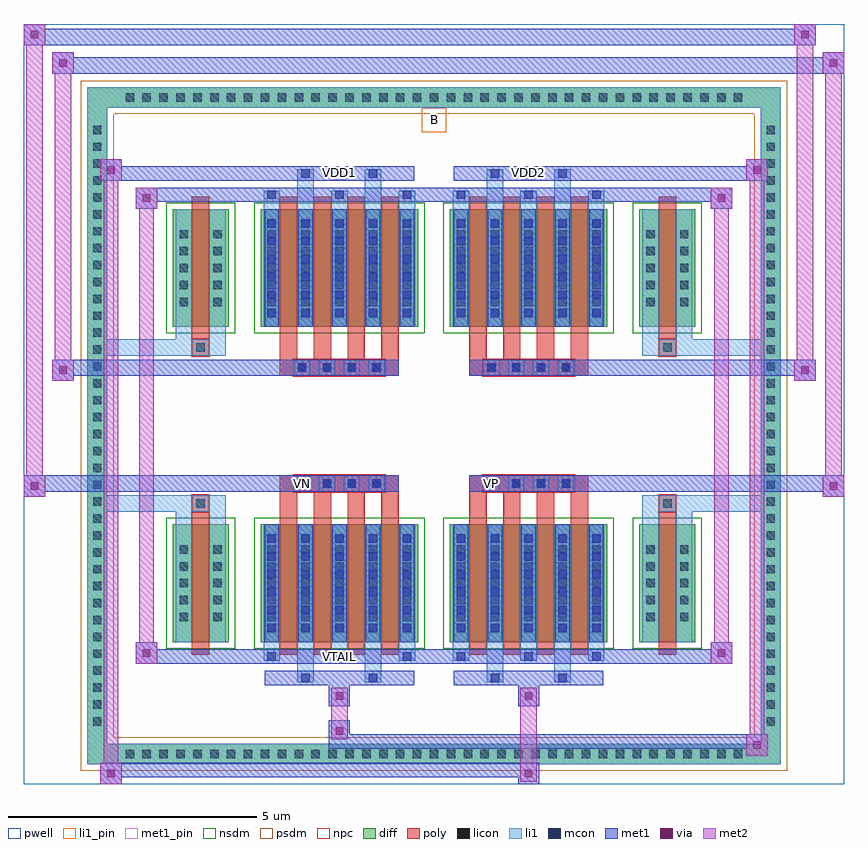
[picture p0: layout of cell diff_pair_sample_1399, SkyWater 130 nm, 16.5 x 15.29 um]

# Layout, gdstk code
import gdstk
lib = gdstk.Library(unit=1e-6, precision=5e-09)
def R(c, l, rs):  # rectangles x0, y0, x1, y1
    for r in rs: c.add(gdstk.rectangle(r[:2], r[2:], *l))
def A(c, l, x, y, w, h, nx, ny, dx, dy):  # array of equal rectangles
    R(c, l, [(x+i*dx, y+j*dy, x+i*dx+w, y+j*dy+h) for i in range(nx) for j in range(ny)])
def P(c, l, *ps):  # polygons
    for p in ps: c.add(gdstk.Polygon(p, *l))
pwell = (64, 44)
diff = (65, 20)
poly = (66, 20)
licon = (66, 44)
li1_pin = (67, 16)
li1 = (67, 20)
mcon = (67, 44)
met1_pin = (68, 16)
met1 = (68, 20)
via = (68, 44)
met2 = (69, 20)
nsdm = (93, 44)
psdm = (94, 20)
npc = (95, 20)

diff_pair_sample_1399 = lib.new_cell('diff_pair_sample_1399')
R(diff_pair_sample_1399, pwell, [(-8.25,-7.21,8.25,8.08), (-5.57,-5.4,-0.01,-0.8), (0.01,-5.4,5.57,-0.8), (-5.57,0.8,-0.01,5.4), (0.01,0.8,5.57,5.4)])
A(diff_pair_sample_1399, diff, -6.325, -6.81, 0.41, 0.41, 37, 2, 0.34, 13.21)
A(diff_pair_sample_1399, diff, -6.98, -6.155, 0.41, 0.41, 1, 36, 0, 0.34)
A(diff_pair_sample_1399, diff, 6.57, -6.155, 0.41, 0.41, 1, 36, 0, 0.34)
R(diff_pair_sample_1399, diff, [(-6.325,-6.81,6.325,-6.4), (-6.98,-6.155,-6.57,6.155), (6.57,-6.155,6.98,6.155), (-5.26,-4.355,-4.13,-1.985), (-3.49,-4.355,-0.32,-1.985), (0.32,-4.355,3.49,-1.985), (4.13,-4.355,5.26,-1.985), (-5.26,1.985,-4.13,4.355), (-3.49,1.985,-0.32,4.355), (0.32,1.985,3.49,4.355), (4.13,1.985,5.26,4.355), (-6.325,6.4,6.325,6.81)])
P(diff_pair_sample_1399, diff, [(6.98,6.81),(-6.98,6.81),(-6.98,-6.4),(-6.57,-6.4),(-6.57,6.4),(6.57,6.4),(6.57,-6.4),(-6.57,-6.4),(-6.98,-6.4),(-6.98,-6.81),(6.98,-6.81)])
A(diff_pair_sample_1399, poly, -3.1, -4.605, 0.35, 2.87, 4, 2, 0.68, 6.34)
A(diff_pair_sample_1399, poly, 0.71, -4.605, 0.35, 2.87, 4, 2, 0.68, 6.34)
A(diff_pair_sample_1399, poly, -3.1, -1.735, 0.35, 0.405, 4, 2, 0.68, 3.065)
A(diff_pair_sample_1399, poly, 0.71, -1.735, 0.35, 0.405, 4, 2, 0.68, 3.065)
A(diff_pair_sample_1399, poly, -2.82, -1.33, 0.33, 0.33, 4, 2, 0.5, 2.33)
A(diff_pair_sample_1399, poly, 0.99, -1.33, 0.33, 0.33, 4, 2, 0.5, 2.33)
R(diff_pair_sample_1399, poly, [(-4.87,-4.605,-4.52,-1.735), (4.52,-4.605,4.87,-1.735), (-4.86,-1.735,-4.53,-1.405), (-4.86,-1.735,-4.53,-1.405), (4.53,-1.735,4.86,-1.405), (4.53,-1.735,4.86,-1.405), (-3.1,-1.33,-0.71,-1), (0.71,-1.33,3.1,-1), (-3.1,1,-0.71,1.33), (0.71,1,3.1,1.33), (-4.86,1.405,-4.53,1.735), (-4.86,1.405,-4.53,1.735), (4.53,1.405,4.86,1.735), (4.53,1.405,4.86,1.735), (-4.87,1.735,-4.52,4.605), (4.52,1.735,4.87,4.605)])
A(diff_pair_sample_1399, licon, -6.205, -6.69, 0.17, 0.17, 37, 2, 0.34, 13.21)
A(diff_pair_sample_1399, licon, -6.86, -6.035, 0.17, 0.17, 1, 36, 0, 0.34)
A(diff_pair_sample_1399, licon, 6.69, -6.035, 0.17, 0.17, 1, 36, 0, 0.34)
A(diff_pair_sample_1399, licon, -5.12, -3.935, 0.17, 0.17, 1, 5, 0, 0.34)
A(diff_pair_sample_1399, licon, -4.44, -3.935, 0.17, 0.17, 1, 5, 0, 0.34)
A(diff_pair_sample_1399, licon, -3.35, -3.935, 0.17, 0.17, 5, 5, 0.68, 0.34)
A(diff_pair_sample_1399, licon, 0.46, -3.935, 0.17, 0.17, 5, 5, 0.68, 0.34)
A(diff_pair_sample_1399, licon, 4.27, -3.935, 0.17, 0.17, 1, 5, 0, 0.34)
A(diff_pair_sample_1399, licon, 4.95, -3.935, 0.17, 0.17, 1, 5, 0, 0.34)
A(diff_pair_sample_1399, licon, -2.74, -1.25, 0.17, 0.17, 4, 2, 0.5, 2.33)
A(diff_pair_sample_1399, licon, 1.07, -1.25, 0.17, 0.17, 4, 2, 0.5, 2.33)
A(diff_pair_sample_1399, licon, -5.12, 2.405, 0.17, 0.17, 1, 5, 0, 0.34)
A(diff_pair_sample_1399, licon, -4.44, 2.405, 0.17, 0.17, 1, 5, 0, 0.34)
A(diff_pair_sample_1399, licon, -3.35, 2.405, 0.17, 0.17, 5, 5, 0.68, 0.34)
A(diff_pair_sample_1399, licon, 0.46, 2.405, 0.17, 0.17, 5, 5, 0.68, 0.34)
A(diff_pair_sample_1399, licon, 4.27, 2.405, 0.17, 0.17, 1, 5, 0, 0.34)
A(diff_pair_sample_1399, licon, 4.95, 2.405, 0.17, 0.17, 1, 5, 0, 0.34)
R(diff_pair_sample_1399, licon, [(-4.78,-1.655,-4.61,-1.485), (4.61,-1.655,4.78,-1.485), (-4.78,1.485,-4.61,1.655), (4.61,1.485,4.78,1.655)])
R(diff_pair_sample_1399, li1_pin, [(-0.25,5.9,0.25,6.4)])
A(diff_pair_sample_1399, li1, -6.285, -6.77, 0.33, 0.33, 37, 2, 0.34, 13.21)
A(diff_pair_sample_1399, li1, -6.94, -6.115, 0.33, 0.33, 1, 36, 0, 0.34)
A(diff_pair_sample_1399, li1, 6.61, -6.115, 0.33, 0.33, 1, 36, 0, 0.34)
A(diff_pair_sample_1399, li1, -3.43, -4.73, 0.33, 0.375, 3, 2, 1.36, 9.085)
A(diff_pair_sample_1399, li1, -3.35, -4.73, 0.17, 0.17, 3, 2, 1.36, 9.29)
A(diff_pair_sample_1399, li1, 0.38, -4.73, 0.33, 0.375, 3, 2, 1.36, 9.085)
A(diff_pair_sample_1399, li1, 0.46, -4.73, 0.17, 0.17, 3, 2, 1.36, 9.29)
A(diff_pair_sample_1399, li1, -3.43, -4.355, 0.33, 2.37, 5, 2, 0.68, 6.34)
A(diff_pair_sample_1399, li1, 0.38, -4.355, 0.33, 2.37, 5, 2, 0.68, 6.34)
A(diff_pair_sample_1399, li1, -3.35, -4.155, 0.17, 0.17, 5, 6, 0.68, 0.36)
A(diff_pair_sample_1399, li1, -3.35, -4.155, 0.17, 1.97, 5, 2, 0.68, 6.34)
A(diff_pair_sample_1399, li1, 0.46, -4.155, 0.17, 0.17, 5, 6, 0.68, 0.36)
A(diff_pair_sample_1399, li1, 0.46, -4.155, 0.17, 1.97, 5, 2, 0.68, 6.34)
A(diff_pair_sample_1399, li1, -5.2, -4.015, 0.33, 0.33, 1, 5, 0, 0.34)
A(diff_pair_sample_1399, li1, -4.52, -4.015, 0.33, 0.33, 1, 5, 0, 0.34)
A(diff_pair_sample_1399, li1, -3.43, -4.015, 0.33, 0.33, 5, 5, 0.68, 0.34)
A(diff_pair_sample_1399, li1, 0.38, -4.015, 0.33, 0.33, 5, 5, 0.68, 0.34)
A(diff_pair_sample_1399, li1, 4.19, -4.015, 0.33, 0.33, 1, 5, 0, 0.34)
A(diff_pair_sample_1399, li1, 4.87, -4.015, 0.33, 0.33, 1, 5, 0, 0.34)
A(diff_pair_sample_1399, li1, -2.82, -1.33, 0.33, 0.33, 4, 2, 0.5, 2.33)
A(diff_pair_sample_1399, li1, 0.99, -1.33, 0.33, 0.33, 4, 2, 0.5, 2.33)
A(diff_pair_sample_1399, li1, -3.35, 2.185, 0.17, 0.17, 5, 6, 0.68, 0.36)
A(diff_pair_sample_1399, li1, 0.46, 2.185, 0.17, 0.17, 5, 6, 0.68, 0.36)
A(diff_pair_sample_1399, li1, -5.2, 2.325, 0.33, 0.33, 1, 5, 0, 0.34)
A(diff_pair_sample_1399, li1, -4.52, 2.325, 0.33, 0.33, 1, 5, 0, 0.34)
A(diff_pair_sample_1399, li1, -3.43, 2.325, 0.33, 0.33, 5, 5, 0.68, 0.34)
A(diff_pair_sample_1399, li1, 0.38, 2.325, 0.33, 0.33, 5, 5, 0.68, 0.34)
A(diff_pair_sample_1399, li1, 4.19, 2.325, 0.33, 0.33, 1, 5, 0, 0.34)
A(diff_pair_sample_1399, li1, 4.87, 2.325, 0.33, 0.33, 1, 5, 0, 0.34)
R(diff_pair_sample_1399, li1, [(-6.98,-6.81,-6.57,-6.4), (-6.98,-6.81,-6.57,-6.4), (-6.57,-6.81,6.57,-6.4), (6.57,-6.81,6.98,-6.4), (6.57,-6.81,6.98,-6.4), (-6.98,-6.4,-6.57,6.4), (6.57,-6.4,6.98,6.4), (-2.75,-5.16,-2.42,-4.355), (-2.67,-5.16,-2.5,-4.99), (-1.39,-5.16,-1.06,-4.355), (-1.31,-5.16,-1.14,-4.99), (1.06,-5.16,1.39,-4.355), (1.14,-5.16,1.31,-4.99), (2.42,-5.16,2.75,-4.355), (2.5,-5.16,2.67,-4.99), (-5.2,-4.355,-4.87,-1.985), (-4.52,-4.355,-4.19,-1.985), (4.19,-4.355,4.52,-1.985), (4.87,-4.355,5.2,-1.985), (-5.2,-1.985,-4.87,-1.405), (-4.52,-1.985,-4.19,-1.405), (4.19,-1.985,4.52,-1.405), (4.87,-1.985,5.2,-1.405), (-6.98,-1.735,-4.86,-1.405), (-5.2,-1.735,-4.86,-1.405), (-4.86,-1.735,-4.53,-1.405), (-4.53,-1.735,-4.19,-1.405), (4.19,-1.735,4.53,-1.405), (4.53,-1.735,4.86,-1.405), (4.53,-1.735,6.98,-1.405), (4.86,-1.735,5.2,-1.405), (-6.98,1.405,-4.86,1.735), (-5.2,1.405,-4.86,1.735), (-5.2,1.405,-4.87,1.985), (-4.86,1.405,-4.53,1.735), (-4.53,1.405,-4.19,1.735), (-4.52,1.405,-4.19,1.985), (4.19,1.405,4.53,1.735), (4.19,1.405,4.52,1.985), (4.53,1.405,4.86,1.735), (4.53,1.405,6.98,1.735), (4.86,1.405,5.2,1.735), (4.87,1.405,5.2,1.985), (-5.2,1.985,-4.87,4.355), (-4.52,1.985,-4.19,4.355), (4.19,1.985,4.52,4.355), (4.87,1.985,5.2,4.355), (-2.75,4.355,-2.42,5.16), (-1.39,4.355,-1.06,5.16), (1.06,4.355,1.39,5.16), (2.42,4.355,2.75,5.16), (-2.67,4.99,-2.5,5.16), (-1.31,4.99,-1.14,5.16), (1.14,4.99,1.31,5.16), (2.5,4.99,2.67,5.16), (-6.98,6.4,-6.57,6.81), (-6.98,6.4,-6.57,6.81), (-6.57,6.4,6.57,6.81), (6.57,6.4,6.98,6.81), (6.57,6.4,6.98,6.81)])
A(diff_pair_sample_1399, mcon, -3.35, -4.73, 0.17, 0.17, 3, 2, 1.36, 9.29)
A(diff_pair_sample_1399, mcon, 0.46, -4.73, 0.17, 0.17, 3, 2, 1.36, 9.29)
A(diff_pair_sample_1399, mcon, -3.35, -4.155, 0.17, 0.17, 5, 6, 0.68, 0.36)
A(diff_pair_sample_1399, mcon, 0.46, -4.155, 0.17, 0.17, 5, 6, 0.68, 0.36)
A(diff_pair_sample_1399, mcon, -2.74, -1.25, 0.17, 0.17, 4, 2, 0.5, 2.33)
A(diff_pair_sample_1399, mcon, 1.07, -1.25, 0.17, 0.17, 4, 2, 0.5, 2.33)
A(diff_pair_sample_1399, mcon, -3.35, 2.185, 0.17, 0.17, 5, 6, 0.68, 0.36)
A(diff_pair_sample_1399, mcon, 0.46, 2.185, 0.17, 0.17, 5, 6, 0.68, 0.36)
R(diff_pair_sample_1399, mcon, [(-2.67,-5.16,-2.5,-4.99), (-1.31,-5.16,-1.14,-4.99), (1.14,-5.16,1.31,-4.99), (2.5,-5.16,2.67,-4.99), (-2.67,4.99,-2.5,5.16), (-1.31,4.99,-1.14,5.16), (1.14,4.99,1.31,5.16), (2.5,4.99,2.67,5.16)])
R(diff_pair_sample_1399, met1_pin, [(-2.04,-4.77,-1.77,-4.5), (-2.79,-1.29,-2.52,-1.02), (1.02,-1.29,1.29,-1.02), (-2.04,4.95,-1.77,5.22), (1.77,4.95,2.04,5.22)])
A(diff_pair_sample_1399, met1, -3.41, -4.79, 0.29, 0.29, 3, 2, 1.36, 9.29)
A(diff_pair_sample_1399, met1, 0.4, -4.79, 0.29, 0.29, 3, 2, 1.36, 9.29)
A(diff_pair_sample_1399, met1, -3.41, -4.355, 0.29, 2.37, 5, 2, 0.68, 6.34)
A(diff_pair_sample_1399, met1, 0.4, -4.355, 0.29, 2.37, 5, 2, 0.68, 6.34)
A(diff_pair_sample_1399, met1, -3.41, -4.215, 0.29, 0.29, 5, 6, 0.68, 0.36)
A(diff_pair_sample_1399, met1, 0.4, -4.215, 0.29, 0.29, 5, 6, 0.68, 0.36)
A(diff_pair_sample_1399, met1, -2.8, -1.31, 0.29, 0.29, 4, 2, 0.5, 2.33)
A(diff_pair_sample_1399, met1, 1.01, -1.31, 0.29, 0.29, 4, 2, 0.5, 2.33)
A(diff_pair_sample_1399, met1, -3.41, 2.125, 0.29, 0.29, 5, 6, 0.68, 0.36)
A(diff_pair_sample_1399, met1, 0.4, 2.125, 0.29, 0.29, 5, 6, 0.68, 0.36)
R(diff_pair_sample_1399, met1, [(-6.71,-7.21,-6.28,-6.78), (1.69,-7.21,2.12,-6.78), (-6.71,-7.07,2.12,-6.78), (6.28,-6.64,6.71,-6.21), (-2.12,-6.5,6.71,-6.21), (-2.12,-6.36,-1.69,-5.93), (-2.12,-5.65,-1.69,-5.22), (1.69,-5.65,2.12,-5.22), (-3.41,-5.22,-0.4,-4.93), (-2.73,-5.22,-2.44,-4.93), (-1.37,-5.22,-1.08,-4.93), (0.4,-5.22,3.41,-4.93), (1.08,-5.22,1.37,-4.93), (2.44,-5.22,2.73,-4.93), (-6,-4.79,-5.57,-4.36), (-6,-4.79,-3.41,-4.5), (-3.41,-4.79,-0.4,-4.5), (-0.4,-4.79,0.4,-4.5), (0.4,-4.79,3.41,-4.5), (3.41,-4.79,6,-4.5), (5.57,-4.79,6,-4.36), (-8.25,-1.43,-7.82,-1), (7.82,-1.43,8.25,-1), (-8.25,-1.33,-0.71,-1), (-3.1,-1.33,-0.71,-1), (0.71,-1.33,3.1,-1), (0.71,-1.33,8.25,-1), (-7.68,0.9,-7.25,1.33), (7.25,0.9,7.68,1.33), (-7.68,1,-3.1,1.33), (-3.1,1,-0.71,1.33), (0.71,1,3.1,1.33), (3.1,1,7.68,1.33), (-6,4.36,-5.57,4.79), (5.57,4.36,6,4.79), (-6,4.5,-3.41,4.79), (-3.41,4.5,-0.4,4.79), (-0.4,4.5,0.4,4.79), (0.4,4.5,3.41,4.79), (3.41,4.5,6,4.79), (-6.71,4.93,-6.28,5.36), (-6.71,4.93,-3.41,5.22), (-3.41,4.93,-0.4,5.22), (-2.73,4.93,-2.44,5.22), (-1.37,4.93,-1.08,5.22), (0.4,4.93,3.41,5.22), (1.08,4.93,1.37,5.22), (2.44,4.93,2.73,5.22), (3.41,4.93,6.71,5.22), (6.28,4.93,6.71,5.36), (-7.68,7.08,-7.25,7.51), (-7.68,7.08,-5.57,7.41), (-5.57,7.08,5.57,7.41), (5.57,7.08,8.25,7.41), (7.82,7.08,8.25,7.51), (-8.25,7.65,-7.82,8.08), (-8.25,7.65,-5.57,7.98), (-5.57,7.65,5.57,7.98), (5.57,7.65,7.68,7.98), (7.25,7.65,7.68,8.08)])
R(diff_pair_sample_1399, via, [(-6.57,-7.07,-6.42,-6.92), (1.83,-7.07,1.98,-6.92), (6.42,-6.5,6.57,-6.35), (-1.98,-6.22,-1.83,-6.07), (-1.98,-5.51,-1.83,-5.36), (1.83,-5.51,1.98,-5.36), (-5.86,-4.65,-5.71,-4.5), (5.71,-4.65,5.86,-4.5), (-8.11,-1.29,-7.96,-1.14), (7.96,-1.29,8.11,-1.14), (-7.54,1.04,-7.39,1.19), (7.39,1.04,7.54,1.19), (-5.86,4.5,-5.71,4.65), (5.71,4.5,5.86,4.65), (-6.57,5.07,-6.42,5.22), (6.42,5.07,6.57,5.22), (-7.54,7.22,-7.39,7.37), (7.96,7.22,8.11,7.37), (-8.11,7.79,-7.96,7.94), (7.39,7.79,7.54,7.94)])
R(diff_pair_sample_1399, met2, [(-6.71,-7.21,-6.28,-6.78), (-6.64,-7.21,-6.35,5.36), (-6.35,-7.21,-6.28,-6.78), (-6.66,-7.16,-6.33,-6.83), (1.74,-7.16,2.07,-6.83), (1.74,-6.83,2.07,-5.6), (6.28,-6.64,6.71,-6.21), (6.35,-6.64,6.64,5.36), (6.64,-6.64,6.71,-6.21), (6.33,-6.59,6.66,-6.26), (-2.07,-6.31,-1.74,-5.98), (-2.07,-5.98,-1.74,-5.6), (-2.07,-5.6,-1.74,-5.27), (1.74,-5.6,2.07,-5.27), (-6,-4.79,-5.57,-4.36), (-5.93,-4.79,-5.64,4.79), (-5.64,-4.79,-5.57,-4.36), (5.57,-4.79,6,-4.36), (5.64,-4.79,5.93,4.79), (5.93,-4.79,6,-4.36), (-5.95,-4.74,-5.62,-4.41), (5.62,-4.74,5.95,-4.41), (-8.25,-1.43,-7.82,-1), (-8.2,-1.43,-7.87,8.08), (-7.87,-1.43,-7.82,-1), (7.82,-1.43,8.25,-1), (7.87,-1.43,8.2,7.51), (8.2,-1.43,8.25,-1), (-8.2,-1.38,-7.87,-1.05), (7.87,-1.38,8.2,-1.05), (-7.68,0.9,-7.25,1.33), (-7.63,0.9,-7.3,7.51), (-7.3,0.9,-7.25,1.33), (7.25,0.9,7.68,1.33), (7.3,0.9,7.63,8.08), (7.63,0.9,7.68,1.33), (-7.63,0.95,-7.3,1.28), (7.3,0.95,7.63,1.28), (-6,4.36,-5.57,4.79), (-5.64,4.36,-5.57,4.79), (5.57,4.36,6,4.79), (5.93,4.36,6,4.79), (-5.95,4.41,-5.62,4.74), (5.62,4.41,5.95,4.74), (-6.71,4.93,-6.28,5.36), (-6.35,4.93,-6.28,5.36), (6.28,4.93,6.71,5.36), (6.64,4.93,6.71,5.36), (-6.66,4.98,-6.33,5.31), (6.33,4.98,6.66,5.31), (-7.68,7.08,-7.25,7.51), (-7.3,7.08,-7.25,7.51), (7.82,7.08,8.25,7.51), (8.2,7.08,8.25,7.51), (-7.63,7.13,-7.3,7.46), (7.87,7.13,8.2,7.46), (-8.25,7.65,-7.82,8.08), (-7.87,7.65,-7.82,8.08), (7.25,7.65,7.68,8.08), (7.63,7.65,7.68,8.08), (-8.2,7.7,-7.87,8.03), (7.3,7.7,7.63,8.03)])
R(diff_pair_sample_1399, nsdm, [(-5.39,-4.485,-4,-1.855), (-3.62,-4.485,-0.19,-1.855), (0.19,-4.485,3.62,-1.855), (4,-4.485,5.39,-1.855), (-5.39,1.855,-4,4.485), (-3.62,1.855,-0.19,4.485), (0.19,1.855,3.62,4.485), (4,1.855,5.39,4.485)])
P(diff_pair_sample_1399, psdm, [(7.11,6.94),(-7.11,6.94),(-7.11,-6.27),(-6.44,-6.27),(-6.44,6.27),(6.44,6.27),(6.44,-6.27),(-6.44,-6.27),(-7.11,-6.27),(-7.11,-6.94),(7.11,-6.94)])
A(diff_pair_sample_1399, npc, -2.84, -1.35, 0.37, 0.37, 4, 2, 0.5, 2.33)
A(diff_pair_sample_1399, npc, 0.97, -1.35, 0.37, 0.37, 4, 2, 0.5, 2.33)
R(diff_pair_sample_1399, npc, [(-4.88,-1.755,-4.51,-1.385), (4.51,-1.755,4.88,-1.385), (-2.84,-1.35,-1.97,-0.98), (-2.84,-1.35,-1.97,-0.98), (-2.34,-1.35,-1.47,-0.98), (-2.34,-1.35,-1.47,-0.98), (-1.84,-1.35,-0.97,-0.98), (-1.84,-1.35,-0.97,-0.98), (0.97,-1.35,1.84,-0.98), (0.97,-1.35,1.84,-0.98), (1.47,-1.35,2.34,-0.98), (1.47,-1.35,2.34,-0.98), (1.97,-1.35,2.84,-0.98), (1.97,-1.35,2.84,-0.98), (-2.84,0.98,-1.97,1.35), (-2.84,0.98,-1.97,1.35), (-2.34,0.98,-1.47,1.35), (-2.34,0.98,-1.47,1.35), (-1.84,0.98,-0.97,1.35), (-1.84,0.98,-0.97,1.35), (0.97,0.98,1.84,1.35), (0.97,0.98,1.84,1.35), (1.47,0.98,2.34,1.35), (1.47,0.98,2.34,1.35), (1.97,0.98,2.84,1.35), (1.97,0.98,2.84,1.35), (-4.88,1.385,-4.51,1.755), (4.51,1.385,4.88,1.755)])
diff_pair_sample_1399.add(gdstk.Label('VTAIL', (-1.905,-4.635), layer=68, texttype=5))
diff_pair_sample_1399.add(gdstk.Label('VN', (-2.655,-1.155), layer=68, texttype=5))
diff_pair_sample_1399.add(gdstk.Label('VP', (1.155,-1.155), layer=68, texttype=5))
diff_pair_sample_1399.add(gdstk.Label('B', (0,6.15), layer=67, texttype=5))
diff_pair_sample_1399.add(gdstk.Label('VDD2', (1.905,5.085), layer=68, texttype=5))
diff_pair_sample_1399.add(gdstk.Label('VDD1', (-1.905,5.085), layer=68, texttype=5))

lib.write_gds('diff_pair_sample_1399.gds')
